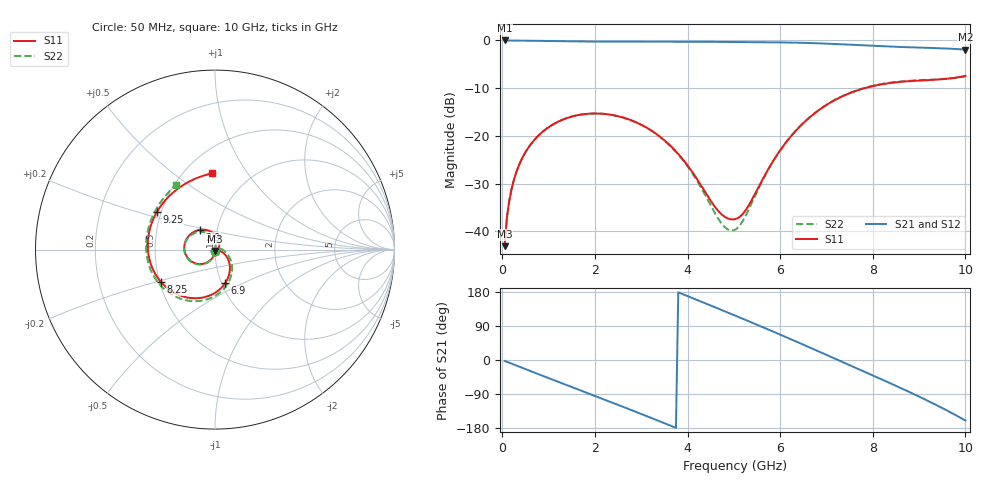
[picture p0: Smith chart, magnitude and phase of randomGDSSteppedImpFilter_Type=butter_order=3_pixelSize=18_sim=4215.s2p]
! freq	dB(S11)	phase(S11)	dB(S12)	phase(S12)
!  dB(S21)	phase(S21)	dB(S22)	phase(S22)
!S-par simulation data
#  GHz  S  DB  R 50
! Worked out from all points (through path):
!   200 points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, 50 MHz to 10 GHz, reference 50 ohm
!   highest |S21| = -0.01 dB at 50 MHz (marker M1); lowest = -1.9 dB at 10 GHz (marker M2)
!   group delay of S21, straight-line fit = 142 ps
!   lowest |S11| = -43.1 dB at 50 MHz (marker M3), VSWR 1.01, Z = 50 - j0.701 ohm
!   |S11| at or under -10 dB: start of sweep to 7.824 GHz
!   |S22| runs from -43.1 to -7.5 dB; largest |S21 - S12| = 0
!   S11 on the Smith chart (normalised r, x): 50 MHz: 1.00, -0.01; 2.9 GHz: 0.83, +0.19; 6.9 GHz: 1.04, -0.41; 8.25 GHz: 0.51, -0.21; 9.25 GHz: 0.47, +0.23; 10 GHz: 0.68, +0.70
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0.05  -43.08 -90.7  -0.01 -2.4  -0.01 -2.4  -43.08 -90.7
0.1  -37.09 -94.2  -0.01 -4.9  -0.01 -4.9  -37.09 -94.0
0.2  -31.12 -99.7  -0.02 -9.7  -0.02 -9.7  -31.12 -99.3
0.5  -23.40 -114.9  -0.05 -24.0  -0.05 -24.0  -23.40 -114.1
1.15  -17.29 -146.7  -0.15 -54.9  -0.15 -54.9  -17.29 -144.7
1.75  -15.45 -175.7  -0.22 -83.1  -0.22 -83.1  -15.46 -172.4
2.3  -15.49 157.5  -0.25 -109.0  -0.25 -109.0  -15.50 162.6
2.9  -17.19 127.3  -0.25 -137.6  -0.25 -137.6  -17.21 135.4
3.4  -20.11 100.5  -0.25 -161.8  -0.25 -161.8  -20.16 113.2
4.2  -28.95 47.6  -0.27 158.8  -0.27 158.8  -29.29 83.4
4.75  -36.55 -9.8  -0.31 131.3  -0.31 131.3  -38.51 80.6
5.05  -37.35 -25.8  -0.33 116.1  -0.33 116.1  -39.50 65.5
5.3  -34.88 -19.8  -0.35 103.4  -0.35 103.4  -35.84 35.7
5.85  -25.21 -23.6  -0.39 74.9  -0.39 74.9  -25.26 -9.0
6.7  -15.60 -62.8  -0.56 29.7  -0.56 29.7  -15.57 -56.8
6.9  -14.15 -73.4  -0.63 18.9  -0.63 18.9  -14.11 -67.5
7.55  -10.87 -109.0  -0.92 -16.2  -0.92 -16.2  -10.81 -101.9
8.25  -9.10 -149.1  -1.24 -54.3  -1.24 -54.3  -9.02 -138.6
8.35  -8.95 -155.0  -1.28 -59.8  -1.28 -59.8  -8.87 -143.9
8.8  -8.52 177.3  -1.44 -85.0  -1.44 -85.0  -8.44 -167.8
9.25  -8.28 147.5  -1.57 -111.3  -1.57 -111.3  -8.23 167.3
10  -7.43 92.1  -1.93 -159.7  -1.93 -159.7  -7.52 120.8
